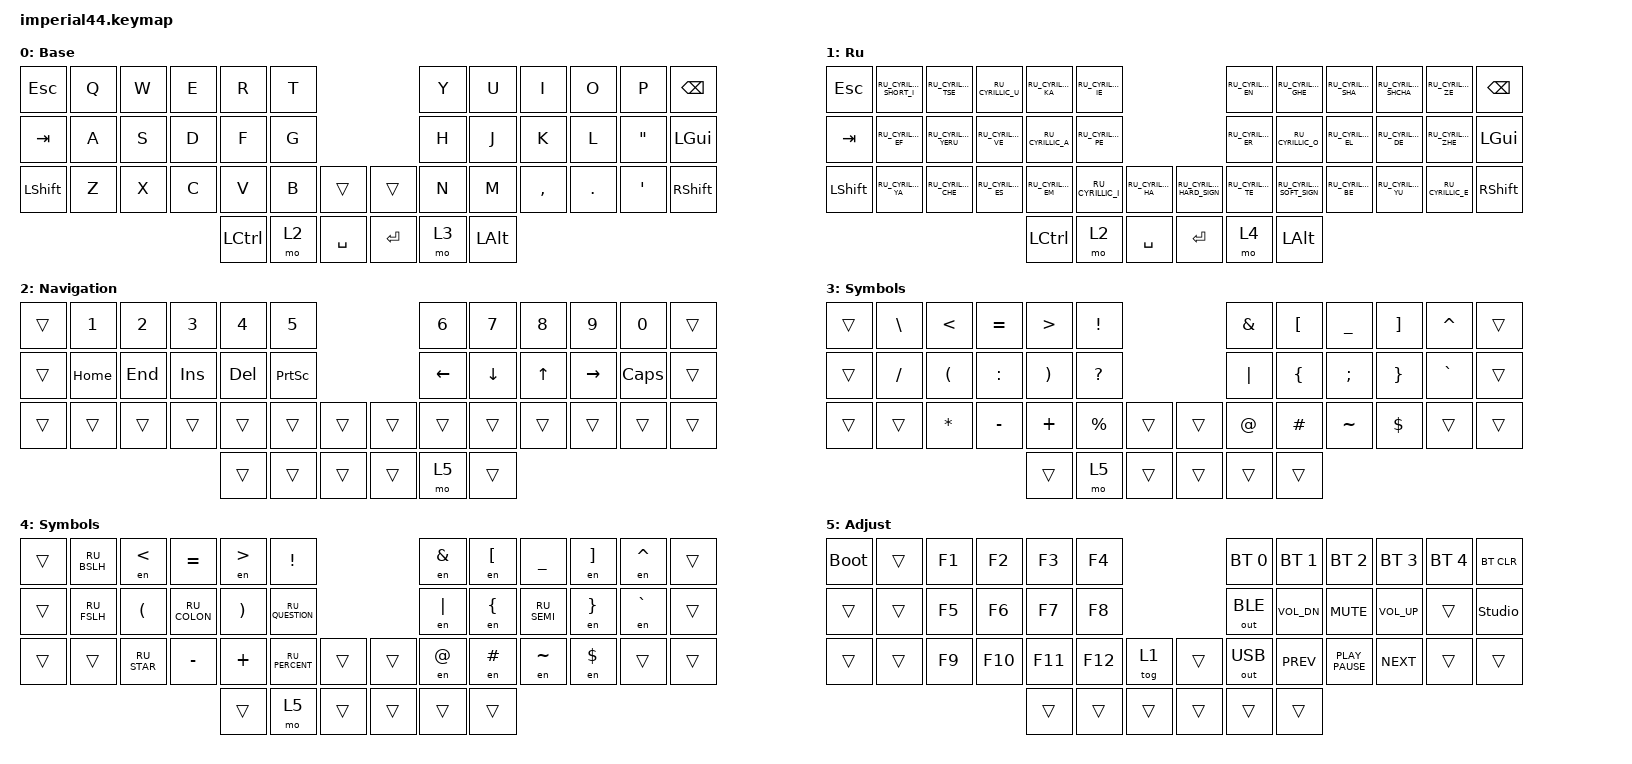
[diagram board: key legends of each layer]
#include "keys_ru.h"
#include <behaviors.dtsi>
#include <dt-bindings/zmk/bt.h>
#include <dt-bindings/zmk/keys.h>
#include <dt-bindings/zmk/outputs.h>

/ {
    combos {
        compatible = "zmk,combos";

        cmb {
            bindings = <&lg_tog>;
            key-positions = <24 15 16>;
            layers = <0 1>;
            timeout-ms = <200>;
        };
    };

    macros {
        lg_tog: to_ru {
            compatible = "zmk,behavior-macro";
            #binding-cells = <0>;
            bindings = <&kp RG(SPACE) &tog 1>;
            label = "TO_RU";
            wait-ms = <0>;
            tap-ms = <30>;
        };

        en: en {
            compatible = "zmk,behavior-macro-one-param";
            #binding-cells = <1>;
            bindings =
                <&lg_tog>,
                <&macro_press>,
                <&macro_param_1to1 &kp MACRO_PLACEHOLDER>,
                <&macro_pause_for_release>,
                <&macro_release>,
                <&macro_param_1to1 &kp MACRO_PLACEHOLDER>,
                <&macro_tap>,
                <&lg_tog>;

            label = "EN";
            wait-ms = <0>;
            tap-ms = <30>;
        };
    };

    keymap {
        compatible = "zmk,keymap";

        en {
            bindings = <
&kp ESC    &kp Q  &kp W  &kp E  &kp R      &kp T                          &kp Y  &kp U     &kp I      &kp O    &kp P              &kp BACKSPACE
&kp TAB    &kp A  &kp S  &kp D  &kp F      &kp G                          &kp H  &kp J     &kp K      &kp L    &kp DOUBLE_QUOTES  &kp LGUI
&kp LSHFT  &kp Z  &kp X  &kp C  &kp V      &kp B  &trans       &trans     &kp N  &kp M     &kp COMMA  &kp DOT  &kp SQT            &kp RSHFT
                                &kp LCTRL  &mo 2  &kp SPACE    &kp ENTER  &mo 3  &kp LALT
            >;

            display-name = "Base";
        };

        ru {
            display-name = "Ru";
            bindings = <
&kp ESC    &kp RU_CYRILLIC_SHORT_I  &kp RU_CYRILLIC_TSE   &kp RU_CYRILLIC_U   &kp RU_CYRILLIC_KA  &kp RU_CYRILLIC_IE                                                   &kp RU_CYRILLIC_EN  &kp RU_CYRILLIC_GHE        &kp RU_CYRILLIC_SHA  &kp RU_CYRILLIC_SHCHA  &kp RU_CYRILLIC_ZE   &kp BACKSPACE
&kp TAB    &kp RU_CYRILLIC_EF       &kp RU_CYRILLIC_YERU  &kp RU_CYRILLIC_VE  &kp RU_CYRILLIC_A   &kp RU_CYRILLIC_PE                                                   &kp RU_CYRILLIC_ER  &kp RU_CYRILLIC_O          &kp RU_CYRILLIC_EL   &kp RU_CYRILLIC_DE     &kp RU_CYRILLIC_ZHE  &kp LGUI
&kp LSHFT  &kp RU_CYRILLIC_YA       &kp RU_CYRILLIC_CHE   &kp RU_CYRILLIC_ES  &kp RU_CYRILLIC_EM  &kp RU_CYRILLIC_I   &kp RU_CYRILLIC_HA    &kp RU_CYRILLIC_HARD_SIGN  &kp RU_CYRILLIC_TE  &kp RU_CYRILLIC_SOFT_SIGN  &kp RU_CYRILLIC_BE   &kp RU_CYRILLIC_YU     &kp RU_CYRILLIC_E    &kp RSHFT
                                                                              &kp LCTRL           &mo 2               &kp SPACE             &kp ENTER                  &mo 4               &kp LALT
            >;
        };

        nav {
            bindings = <
&trans  &kp N1    &kp N2   &kp N3   &kp N4   &kp N5                             &kp N6    &kp N7    &kp N8  &kp N9     &kp N0    &trans
&trans  &kp HOME  &kp END  &kp INS  &kp DEL  &kp PRINTSCREEN                    &kp LEFT  &kp DOWN  &kp UP  &kp RIGHT  &kp CAPS  &trans
&trans  &trans    &trans   &trans   &trans   &trans           &trans    &trans  &trans    &trans    &trans  &trans     &trans    &trans
                                    &trans   &trans           &trans    &trans  &mo 5     &trans
            >;

            display-name = "Navigation";
        };

        sym_en {
            bindings = <
&trans  &kp BSLH  &kp LT    &kp EQUAL  &kp GT    &kp EXCL                        &kp AMPS  &kp LBKT  &kp UNDER  &kp RBKT    &kp CARET  &trans
&trans  &kp FSLH  &kp LPAR  &kp COLON  &kp RPAR  &kp QUESTION                    &kp PIPE  &kp LBRC  &kp SEMI   &kp RBRC    &kp GRAVE  &trans
&trans  &trans    &kp STAR  &kp MINUS  &kp PLUS  &kp PERCENT   &trans    &trans  &kp AT    &kp HASH  &kp TILDE  &kp DOLLAR  &trans     &trans
                                       &trans    &mo 5         &trans    &trans  &trans    &trans
            >;

            display-name = "Symbols";
        };

        sum_ru {
            display-name = "Symbols";
            bindings = <
&trans  &kp RU_BSLH  &en LT       &kp EQUAL     &en GT    &kp EXCL                           &en AMPS  &en LBKT  &kp UNDER    &en RBKT    &en CARET  &trans
&trans  &kp RU_FSLH  &kp LPAR     &kp RU_COLON  &kp RPAR  &kp RU_QUESTION                    &en PIPE  &en LBRC  &kp RU_SEMI  &en RBRC    &en GRAVE  &trans
&trans  &trans       &kp RU_STAR  &kp MINUS     &kp PLUS  &kp RU_PERCENT   &trans    &trans  &en AT    &en HASH  &en TILDE    &en DOLLAR  &trans     &trans
                                                &trans    &mo 5            &trans    &trans  &trans    &trans
            >;
        };

        adj {
            bindings = <
&bootloader  &trans  &kp F1  &kp F2   &kp F3   &kp F4                     &bt BT_SEL 0  &bt BT_SEL 1  &bt BT_SEL 2      &bt BT_SEL 3  &bt BT_SEL 4  &bt BT_CLR
&trans       &trans  &kp F5  &kp F6   &kp F7   &kp F8                     &out OUT_BLE  &kp C_VOL_DN  &kp K_MUTE        &kp C_VOL_UP  &trans        &studio_unlock
&trans       &trans  &kp F9  &kp F10  &kp F11  &kp F12  &tog 1    &trans  &out OUT_USB  &kp K_PREV    &kp K_PLAY_PAUSE  &kp K_NEXT    &trans        &trans
                                      &trans   &trans   &trans    &trans  &trans        &trans
            >;

            display-name = "Adjust";
        };
    };
};
